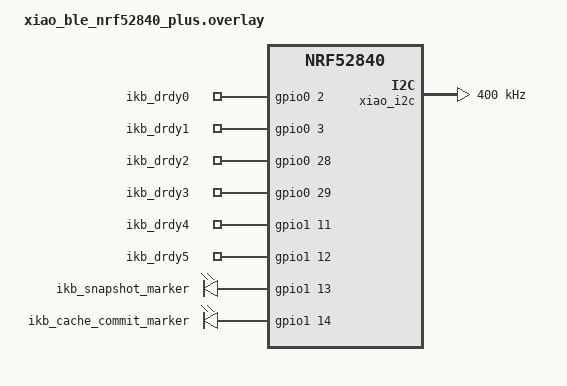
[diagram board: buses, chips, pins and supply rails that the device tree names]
/*
 * XIAO nRF52840 Plus application overlay.
 *
 * Upstream Zephyr 4.4.0 has xiao_ble/nrf52840 but no Plus qualifier. The Plus
 * keeps D0-D10 compatible and adds D11-D19. These chip-pin mappings are from
 * Seeed's source page at commit 8663ae88fd144a7992793f96a55e17c642620135:
 * https://github.com/Seeed-Studio/wiki-documents/blob/8663ae88fd144a7992793f96a55e17c642620135/sites/en/docs/Sensor/SeeedStudio_XIAO/SeeedStudio_XIAO_nRF52840-Sense/XIAO_BLE.md
 * Seeed's current pin map also confirms D9/P1.14:
 * https://wiki.seeedstudio.com/XIAO_BLE/
 *
 * Physical harness contract:
 *   D4/P0.04 = SDA, D5/P0.05 = SCL
 *   sensor INT1[0..5] = D0, D1, D2, D3, D6, D7
 *   Gate 0 aggregate-snapshot marker = D8/P1.13 (analyzer output only)
 *   Gate 0 cache-commit marker = D9/P1.14 (analyzer output only)
 *   D10 remains unused
 *   TCA9548A A0-A2 and each LSM6DS3TR-C SA0 are tied low
 *   TCA9548A RST breakout pad is left open; its onboard 10K pull-up holds it
 *   inactive, and no controller GPIO or unverified rear pad is used
 *
 * Do not substitute unverified bottom-pad pins here. A different harness must
 * provide a reviewed overlay rather than silently falling back at runtime.
 */

#include <dt-bindings/gpio/gpio.h>
#include <dt-bindings/i2c/i2c.h>

/ {
	ikb_drdy_inputs: ikb-drdy-inputs {
		compatible = "gpio-keys";

		ikb_drdy0: sensor-0 {
			gpios = <&gpio0 2 GPIO_ACTIVE_HIGH>;
		};
		ikb_drdy1: sensor-1 {
			gpios = <&gpio0 3 GPIO_ACTIVE_HIGH>;
		};
		ikb_drdy2: sensor-2 {
			gpios = <&gpio0 28 GPIO_ACTIVE_HIGH>;
		};
		ikb_drdy3: sensor-3 {
			gpios = <&gpio0 29 GPIO_ACTIVE_HIGH>;
		};
		ikb_drdy4: sensor-4 {
			gpios = <&gpio1 11 GPIO_ACTIVE_HIGH>;
		};
		ikb_drdy5: sensor-5 {
			gpios = <&gpio1 12 GPIO_ACTIVE_HIGH>;
		};
	};

	ikb_analyzer_outputs: ikb-analyzer-outputs {
		compatible = "gpio-leds";

		ikb_snapshot_marker: gate0-snapshot-marker {
			gpios = <&gpio1 13 GPIO_ACTIVE_HIGH>;
		};
		ikb_cache_commit_marker: gate0-cache-commit-marker {
			gpios = <&gpio1 14 GPIO_ACTIVE_HIGH>;
		};
	};

	aliases {
		ikb-drdy0 = &ikb_drdy0;
		ikb-drdy1 = &ikb_drdy1;
		ikb-drdy2 = &ikb_drdy2;
		ikb-drdy3 = &ikb_drdy3;
		ikb-drdy4 = &ikb_drdy4;
		ikb-drdy5 = &ikb_drdy5;
		ikb-snapshot = &ikb_snapshot_marker;
		ikb-cache-commit = &ikb_cache_commit_marker;
	};
};

&xiao_i2c {
	status = "okay";
	clock-frequency = <I2C_BITRATE_FAST>;
};

/* The upstream board otherwise assigns D6/D7 to the unused hardware UART. */
&uart0 {
	status = "disabled";
};

/*
 * Two SensorFrames of driver buffering. The application owns fixed normal,
 * final, and receipt slots. RX admits one 85-byte encoded stop request while
 * retaining headroom to drain and reject an oversized candidate.
 */
&board_cdc_acm_uart {
	tx-fifo-size = <324>;
	rx-fifo-size = <128>;
};
